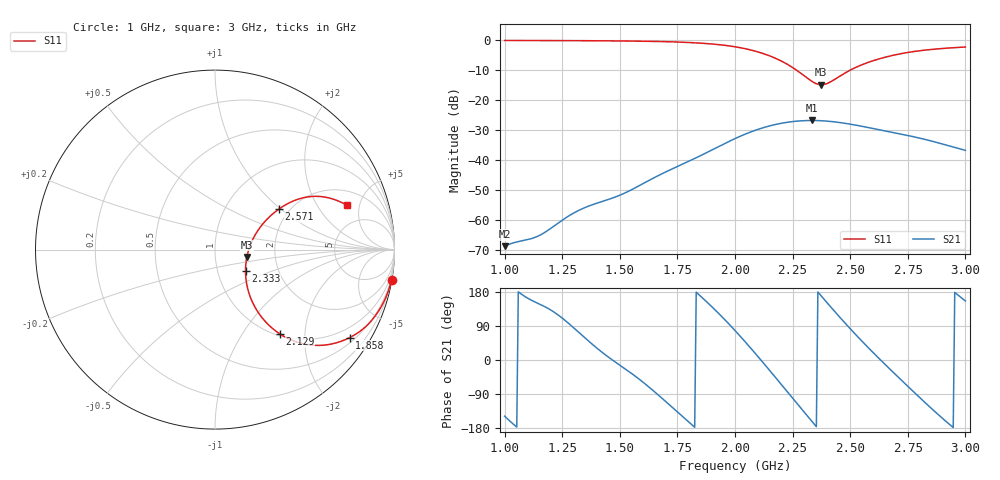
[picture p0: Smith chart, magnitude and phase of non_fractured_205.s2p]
! TOUCHSTONE file generated by CST MICROWAVE STUDIO
! Date and time: Sat Mar  8 13:55:25 2025
! Project name: non_fractured.cst
! Parameters = {B=2.5; D=160; F=15; Feed=2.85625; L=100; M=20; R=0.384908; S=2.5; Theta=0; length=57.125; wave=114.25}
! Header version: 2024
! Port assignment regex: !\s*Touchstone port\s*([0-9]+)\s*=\s*(CST MWS port|CST DES external port|CST DES block port)\s*(.+)\s* \(\"(.*)\"\)(\s*mode\s*([0-9]+))?.*
! Touchstone port assignment:
! Touchstone port 1 = CST MWS port 1 ("")
! Touchstone port 2 = CST MWS port 2 ("")
# GHz S DB R 50
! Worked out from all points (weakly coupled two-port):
!   304 points, 1 GHz to 3 GHz, reference 50 ohm
!   highest |S21| = -26.72 dB at 2.333 GHz (marker M1); lowest = -68.6 dB at 1 GHz (marker M2)
!   lowest |S11| = -14.8 dB at 2.373 GHz (marker M3), VSWR 1.45, Z = 71.3 - j6.04 ohm
!   |S11| at or under -10 dB: 2.268 GHz to 2.498 GHz (229.7 MHz wide, 9.64 % of centre)
!   S12 and S22 are empty: the file has one direction only
!   S11 on the Smith chart (normalised r, x): 1 GHz: 0, -12; 1.858 GHz: 0.65, -3.24; 2.129 GHz: 1.03, -1.49; 2.333 GHz: 1.36, -0.34; 2.571 GHz: 1.76, +0.96; 3 GHz: 3.06, +3.77
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1  -0.02 -9.7  -68.65 -148.2  -200.00 0.0  -200.00 0.0
1.14521  -0.04 -11.8  -65.29 149.2  -200.00 0.0  -200.00 0.0
1.27723  -0.07 -14.0  -58.61 96.9  -200.00 0.0  -200.00 0.0
1.33663  -0.09 -15.2  -56.17 64.9  -200.00 0.0  -200.00 0.0
1.50825  -0.19 -19.1  -51.38 -17.1  -200.00 0.0  -200.00 0.0
1.66667  -0.36 -24.1  -45.11 -92.2  -200.00 0.0  -200.00 0.0
1.76568  -0.58 -28.3  -41.51 -145.3  -200.00 0.0  -200.00 0.0
1.85809  -0.95 -33.2  -38.16 164.3  -200.00 0.0  -200.00 0.0
2.0033  -2.16 -43.2  -32.64 75.7  -200.00 0.0  -200.00 0.0
2.06931  -3.21 -48.3  -30.52 30.6  -200.00 0.0  -200.00 0.0
2.12871  -4.55 -52.4  -28.98 -11.8  -200.00 0.0  -200.00 0.0
2.22772  -8.00 -55.3  -27.30 -84.2  -200.00 0.0  -200.00 0.0
2.28053  -10.67 -50.9  -26.86 -123.0  -200.00 0.0  -200.00 0.0
2.33333  -13.65 -35.2  -26.72 -161.5  -200.00 0.0  -200.00 0.0
2.33993  -13.95 -32.0  -26.72 -166.3  -200.00 0.0  -200.00 0.0
2.37294  -14.79 -13.0  -26.80 170.0  -200.00 0.0  -200.00 0.0
2.40594  -14.17 5.8  -26.97 146.6  -200.00 0.0  -200.00 0.0
2.47195  -11.12 26.0  -27.59 101.3  -200.00 0.0  -200.00 0.0
2.57096  -7.53 32.4  -28.96 37.2  -200.00 0.0  -200.00 0.0
2.66997  -5.25 31.1  -30.48 -22.6  -200.00 0.0  -200.00 0.0
2.82838  -3.21 24.7  -33.09 -114.3  -200.00 0.0  -200.00 0.0
3  -2.21 18.5  -36.68 155.7  -200.00 0.0  -200.00 0.0
